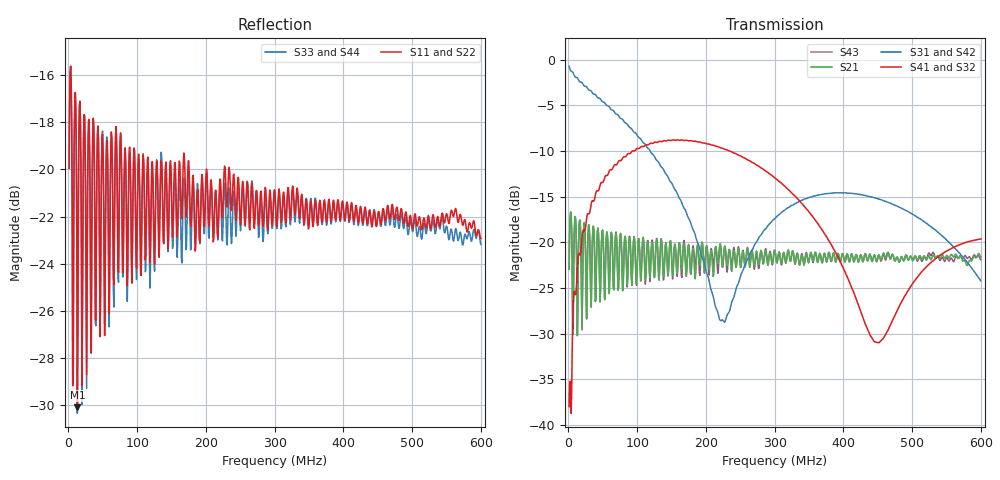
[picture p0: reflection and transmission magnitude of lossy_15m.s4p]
! synthetic reference sample lossy_15m
! measured through fixture_launch at both ends
! synthetic measurement, noise -85.0 dB
# Hz S RI R 50
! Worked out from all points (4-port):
!   801 points, 1 MHz to 600 MHz, reference 50 ohm
!   strongest paths, dB at 1 MHz, 150.8 MHz, 300.5 MHz, 450.2 MHz, 600 MHz:
!     S41: -38.0, -8.8, -13.0, -31.0, -19.6
!     S32: -38.0, -8.8, -13.0, -31.0, -19.6
!     S31: -0.7, -13.6, -17.4, -15.2, -24.2
!     S42: -0.7, -13.6, -17.4, -15.2, -24.2
!     S21: -23.0, -22.7, -20.9, -21.7, -21.6
!     S43: -22.9, -23.1, -21.0, -21.6, -21.9
!   lowest |S11| = -30.1 dB at 12.98 MHz (marker M1), VSWR 1.06, Z = 52.6 - j1.83 ohm
!   |S11| at or under -10 dB: start of sweep to end of sweep
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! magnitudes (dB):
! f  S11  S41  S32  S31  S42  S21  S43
! 1 MHz  -20.0  -38.0  -38.0  -0.7  -0.7  -23.0  -22.9
! 12.98 MHz  -30.1  -22.7  -22.7  -2.0  -2.0  -30.2  -30.2
! 75.88 MHz  -18.4  -11.1  -11.1  -6.4  -6.4  -19.1  -19.0
! 223.4 MHz  -22.0  -9.7  -9.7  -28.5  -28.5  -22.3  -22.3
! 311.7 MHz  -21.3  -13.7  -13.7  -16.6  -16.6  -21.5  -21.6
! 448 MHz  -22.4  -31.0  -31.0  -15.2  -15.2  -22.1  -22.1
! 600 MHz  -22.9  -19.6  -19.6  -24.2  -24.2  -21.6  -21.9
